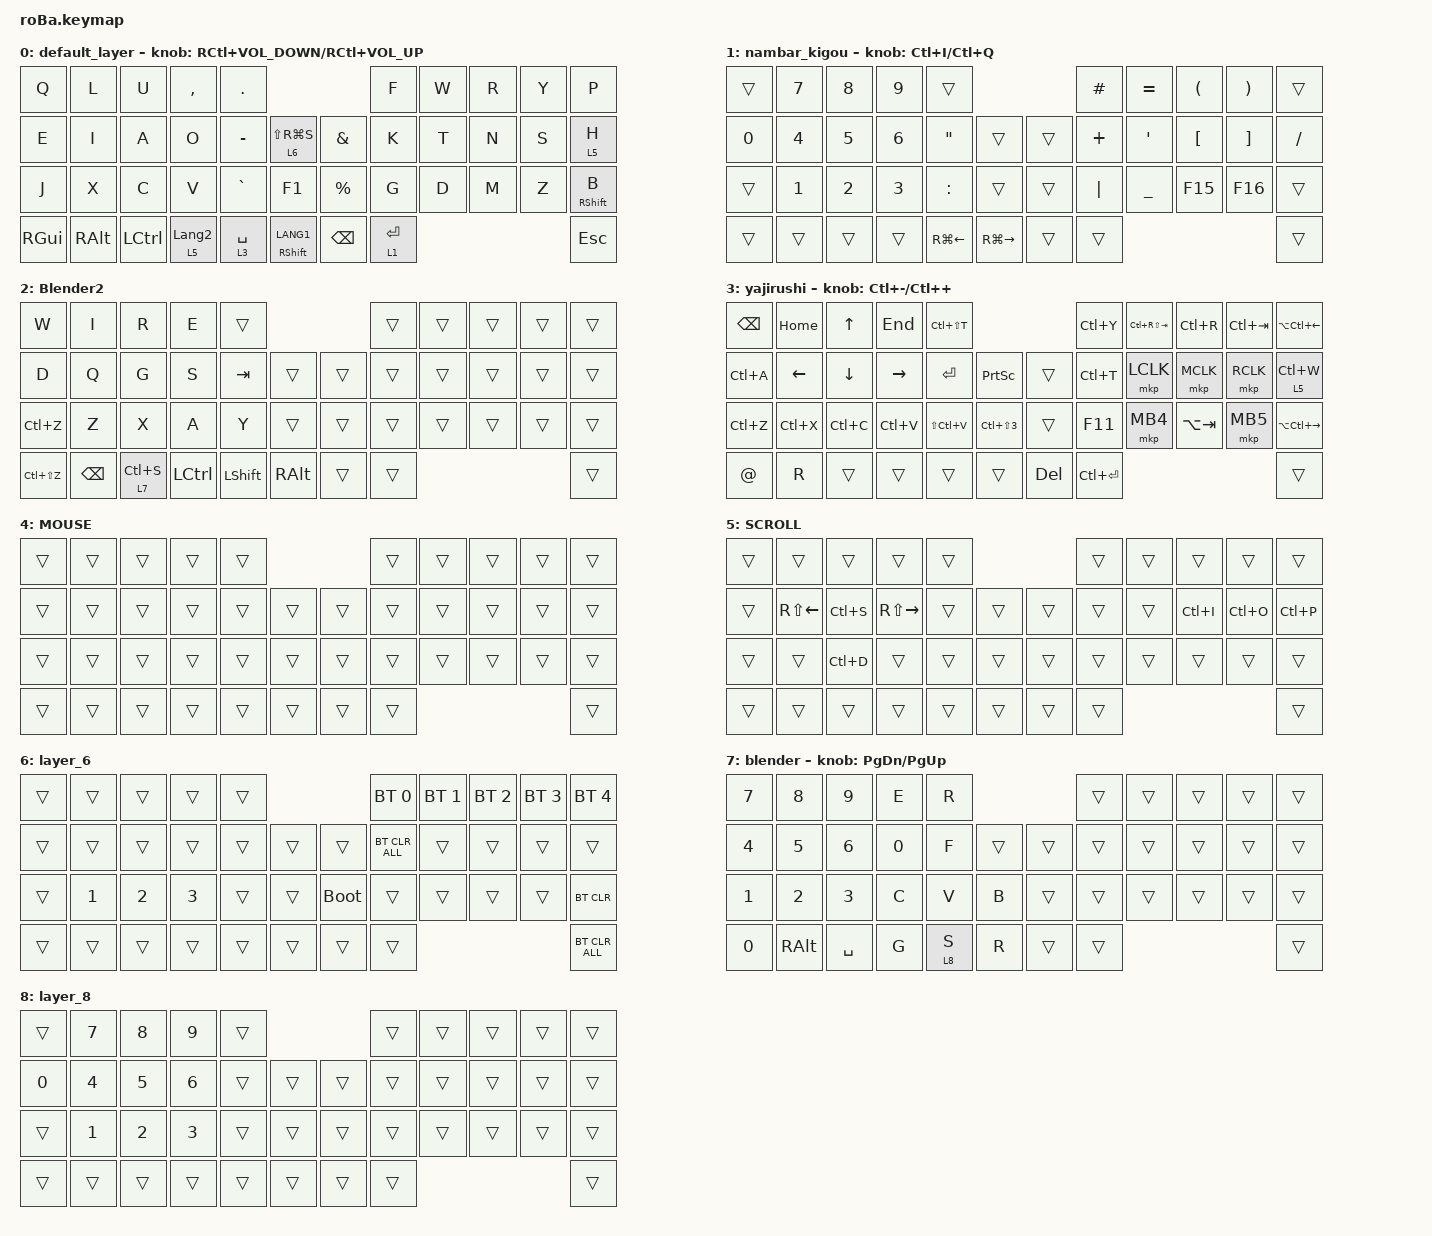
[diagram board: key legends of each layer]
#include <behaviors.dtsi>
#include <dt-bindings/zmk/bt.h>
#include <dt-bindings/zmk/keys.h>
#include <dt-bindings/zmk/pointing.h>

#define ZMK_POINTING_DEFAULT_SCRL_VAL 100

&mt {
    flavor = "balanced";
    quick-tap-ms = <0>;
};

&trackball {
    automouse-layer = <4>;
    scroll-layers = <5>;

    // arrows {
    //     layers = <3>;
    //     bindings =
    //         <&kp RIGHT_ARROW>,
    //         <&kp LEFT_ARROW>,
    //         <&kp UP_ARROW>,
    //         <&kp DOWN_ARROW>;
    //     tick = <10>;
    //     wait-ms = <5>;
    //     tap-ms = <5>;
    // };
};

/ {
    combos {
        compatible = "zmk,combos";

        tab {
            bindings = <&kp TAB>;
            key-positions = <2 1>;
        };

        blender {
            bindings = <&to 2>;
            key-positions = <2 3>;
        };

        default {
            bindings = <&to 0>;
            key-positions = <6 7>;
        };

        Delete {
            bindings = <&kp LC(D)>;
            key-positions = <0 1>;
        };

        kako {
            bindings = <&kako>;
            key-positions = <7 8>;
        };

        kako2 {
            bindings = <&kako2>;
            key-positions = <30 31>;
        };

        kako3 {
            bindings = <&kako3>;
            key-positions = <31 32>;
        };

        bikkuri {
            bindings = <&kp EXCLAMATION>;
            key-positions = <13 12>;
        };

        hatena {
            bindings = <&kp QUESTION>;
            key-positions = <18 19>;
        };

        kakko4 {
            bindings = <&kako4>;
            key-positions = <24 23>;
        };

        aqua_pest {
            bindings = <&kp LS(LEFT_BRACKET)>;
            key-positions = <26 25>;
        };

        apo {
            bindings = <&kp SQT>;
            key-positions = <41 18>;
        };

        migi {
            bindings = <&kp LC(LS(DOWN_ARROW))>;
            key-positions = <38 13>;
        };

        hidari {
            bindings = <&kp LS(LC(UP_ARROW))>;
            key-positions = <38 11>;
        };

        peast {
            bindings = <&kp LC(LS(V))>;
            key-positions = <38 25>;
        };

        onsei {
            bindings = <&kp RG(RC(V))>;
            key-positions = <38 24>;
        };

        back10 {
            bindings = <&kp LS(LC(NUMBER_3))>;
            key-positions = <38 22>;
        };

        skep10 {
            bindings = <&kp LS(LC(NUMBER_4))>;
            key-positions = <38 23>;
        };

        ns {
            bindings = <&ns>;
            key-positions = <19 20>;
        };

        aqua {
            bindings = <&kp GRAVE>;
            key-positions = <41 19>;
        };

        henkan {
            bindings = <&kp RG(FSLH)>;
            key-positions = <38 41>;
        };
    };

    behaviors {
        encoder_msc_down_up: encoder_msc_down_up {
            compatible = "zmk,behavior-sensor-rotate";
            label = "ENCODER_MSC_DOWN_UP";
            #sensor-binding-cells = <0>;
            bindings = <&msc SCRL_DOWN>, <&msc SCRL_UP>;

            tap-ms = <2>;
        };
    };

    macros {
        kako3: new_macro {
            compatible = "zmk,behavior-macro";
            #binding-cells = <0>;
            bindings = <&kp F16 &kp F15 &kp LEFT_ARROW>;
            label = "NEW_MACRO";
        };

        kako2: kako2 {
            compatible = "zmk,behavior-macro";
            #binding-cells = <0>;
            bindings = <&kp LANGUAGE_1 &kp LEFT_BRACKET &kp RIGHT_BRACKET &kp ENTER &kp LEFT>;
            label = "KAKO2";
        };

        kako: kako {
            compatible = "zmk,behavior-macro";
            #binding-cells = <0>;
            bindings = <&kp LANGUAGE_2 &kp LEFT_PARENTHESIS &kp RIGHT_PARENTHESIS &kp LEFT &kp LANGUAGE_1>;
            label = "KAKO";
        };

        kako4: kako4 {
            compatible = "zmk,behavior-macro";
            #binding-cells = <0>;
            bindings = <&kp LANGUAGE_2 &kp LEFT_BRACKET &kp RIGHT_BRACKET &kp LEFT &kp LANGUAGE_1>;
            label = "kako4";
        };

        ns: ns {
            compatible = "zmk,behavior-macro";
            #binding-cells = <0>;
            bindings = <&kp X &kp N>;
            label = "NS";
        };
    };

    keymap {
        compatible = "zmk,keymap";

        default_layer {
            bindings = <
&kp Q          &kp L          &kp U      &kp COMMA         &kp PERIOD                                             &kp F        &kp W  &kp R  &kp Y  &kp P
&kp E          &kp I          &kp A      &kp O             &kp MINUS    &lt 6 LS(RG(S))            &kp AMPERSAND  &kp K        &kp T  &kp N  &kp S  &lt 5 H
&kp J          &kp X          &kp C      &kp V             &kp GRAVE    &kp F1                     &kp PERCENT    &kp G        &kp D  &kp M  &kp Z  &mt RIGHT_SHIFT B
&kp RIGHT_GUI  &kp RIGHT_ALT  &kp LCTRL  &lt 5 LANGUAGE_2  &lt 3 SPACE  &mt RIGHT_SHIFT LANG1      &kp BACKSPACE  &lt 1 ENTER                       &kp ESCAPE
            >;

            sensor-bindings = <&inc_dec_kp RC(C_VOLUME_DOWN) RC(C_VOLUME_UP)>;
        };

        nambar_kigou {
            bindings = <
&trans        &kp NUMBER_7  &kp NUMBER_8  &kp NUMBER_9  &trans                                               &kp HASH  &kp EQUAL         &kp LEFT_PARENTHESIS  &kp RIGHT_PARENTHESIS  &trans
&kp NUMBER_0  &kp NUMBER_4  &kp N5        &kp NUMBER_6  &kp DQT             &trans                   &trans  &kp PLUS  &kp SINGLE_QUOTE  &kp LEFT_BRACKET      &kp RIGHT_BRACKET      &kp SLASH
&trans        &kp NUMBER_1  &kp NUMBER_2  &kp NUMBER_3  &kp COLON           &trans                   &trans  &kp PIPE  &kp UNDERSCORE    &kp F15               &kp F16                &trans
&trans        &trans        &trans        &trans        &kp RG(LEFT_ARROW)  &kp RG(RIGHT_ARROW)      &trans  &trans                                                                   &trans
            >;

            sensor-bindings = <&inc_dec_kp LC(I) LC(Q)>;
        };

        Blender2 {
            bindings = <
&kp W          &kp I          &kp R        &kp E             &trans                                 &trans  &trans  &trans  &trans  &trans
&kp D          &kp Q          &kp G        &kp S             &kp TAB     &trans             &trans  &trans  &trans  &trans  &trans  &trans
&kp LC(Z)      &kp Z          &kp X        &kp A             &kp Y       &trans             &trans  &trans  &trans  &trans  &trans  &trans
&kp LC(LS(Z))  &kp BACKSPACE  &lt 7 LC(S)  &kp LEFT_CONTROL  &kp LSHIFT  &kp RIGHT_ALT      &trans  &trans                          &trans
            >;
        };

        yajirushi {
            bindings = <
&kp BACKSPACE  &kp HOME        &kp UP_ARROW    &kp END          &kp LC(LS(T))                                        &kp LC(Y)      &kp LC(RS(TAB))  &kp LC(R)    &kp LC(TAB)  &kp LA(LC(LEFT))
&kp LC(A)      &kp LEFT_ARROW  &kp DOWN_ARROW  &kp RIGHT_ARROW  &kp ENTER      &kp PRINTSCREEN           &trans      &kp LC(T)      &mkp LCLK        &mkp MCLK    &mkp RCLK    &lt 5 LC(W)
&kp LC(Z)      &kp LC(X)       &kp LC(C)       &kp LC(V)        &kp LS(LC(V))  &kp LC(LS(NUMBER_3))      &trans      &kp F11        &mkp MB4         &kp LA(TAB)  &mkp MB5     &kp LA(LC(RIGHT))
&kp AT         &kp R           &trans          &trans           &trans         &trans                    &kp DELETE  &kp LC(ENTER)                                             &trans
            >;

            sensor-bindings = <&inc_dec_kp LC(MINUS) LC(PLUS)>;
        };

        MOUSE {
            bindings = <
&trans  &trans  &trans  &trans  &trans                      &trans  &trans  &trans  &trans  &trans
&trans  &trans  &trans  &trans  &trans  &trans      &trans  &trans  &trans  &trans  &trans  &trans
&trans  &trans  &trans  &trans  &trans  &trans      &trans  &trans  &trans  &trans  &trans  &trans
&trans  &trans  &trans  &trans  &trans  &trans      &trans  &trans                          &trans
            >;
        };

        SCROLL {
            bindings = <
&trans  &trans              &trans     &trans               &trans                      &trans  &trans  &trans     &trans     &trans
&trans  &kp RS(LEFT_ARROW)  &kp LC(S)  &kp RS(RIGHT_ARROW)  &trans  &trans      &trans  &trans  &trans  &kp LC(I)  &kp LC(O)  &kp LC(P)
&trans  &trans              &kp LC(D)  &trans               &trans  &trans      &trans  &trans  &trans  &trans     &trans     &trans
&trans  &trans              &trans     &trans               &trans  &trans      &trans  &trans                                &trans
            >;
        };

        layer_6 {
            bindings = <
&trans  &trans        &trans        &trans        &trans                           &bt BT_SEL 0    &bt BT_SEL 1  &bt BT_SEL 2  &bt BT_SEL 3  &bt BT_SEL 4
&trans  &trans        &trans        &trans        &trans  &trans      &trans       &bt BT_CLR_ALL  &trans        &trans        &trans        &trans
&trans  &kp NUMBER_1  &kp NUMBER_2  &kp NUMBER_3  &trans  &trans      &bootloader  &trans          &trans        &trans        &trans        &bt BT_CLR
&trans  &trans        &trans        &trans        &trans  &trans      &trans       &trans                                                    &bt BT_CLR_ALL
            >;
        };

        blender {
            bindings = <
&kp N7        &kp N8         &kp N9        &kp E   &kp R                        &trans  &trans  &trans  &trans  &trans
&kp NUMBER_4  &kp N5         &kp NUMBER_6  &kp N0  &kp F    &trans      &trans  &trans  &trans  &trans  &trans  &trans
&kp NUMBER_1  &kp N2         &kp NUMBER_3  &kp C   &kp V    &kp B       &trans  &trans  &trans  &trans  &trans  &trans
&kp N0        &kp RIGHT_ALT  &kp SPACE     &kp G   &lt 8 S  &kp R       &trans  &trans                          &trans
            >;

            sensor-bindings = <&inc_dec_kp PAGE_DOWN PG_UP>;
        };

        layer_8 {
            bindings = <
&trans        &kp N7        &kp NUMBER_8  &kp NUMBER_9  &trans                      &trans  &trans  &trans  &trans  &trans
&kp NUMBER_0  &kp NUMBER_4  &kp N5        &kp NUMBER_6  &trans  &trans      &trans  &trans  &trans  &trans  &trans  &trans
&trans        &kp NUMBER_1  &kp NUMBER_2  &kp NUMBER_3  &trans  &trans      &trans  &trans  &trans  &trans  &trans  &trans
&trans        &trans        &trans        &trans        &trans  &trans      &trans  &trans                          &trans
            >;
        };
    };
};
